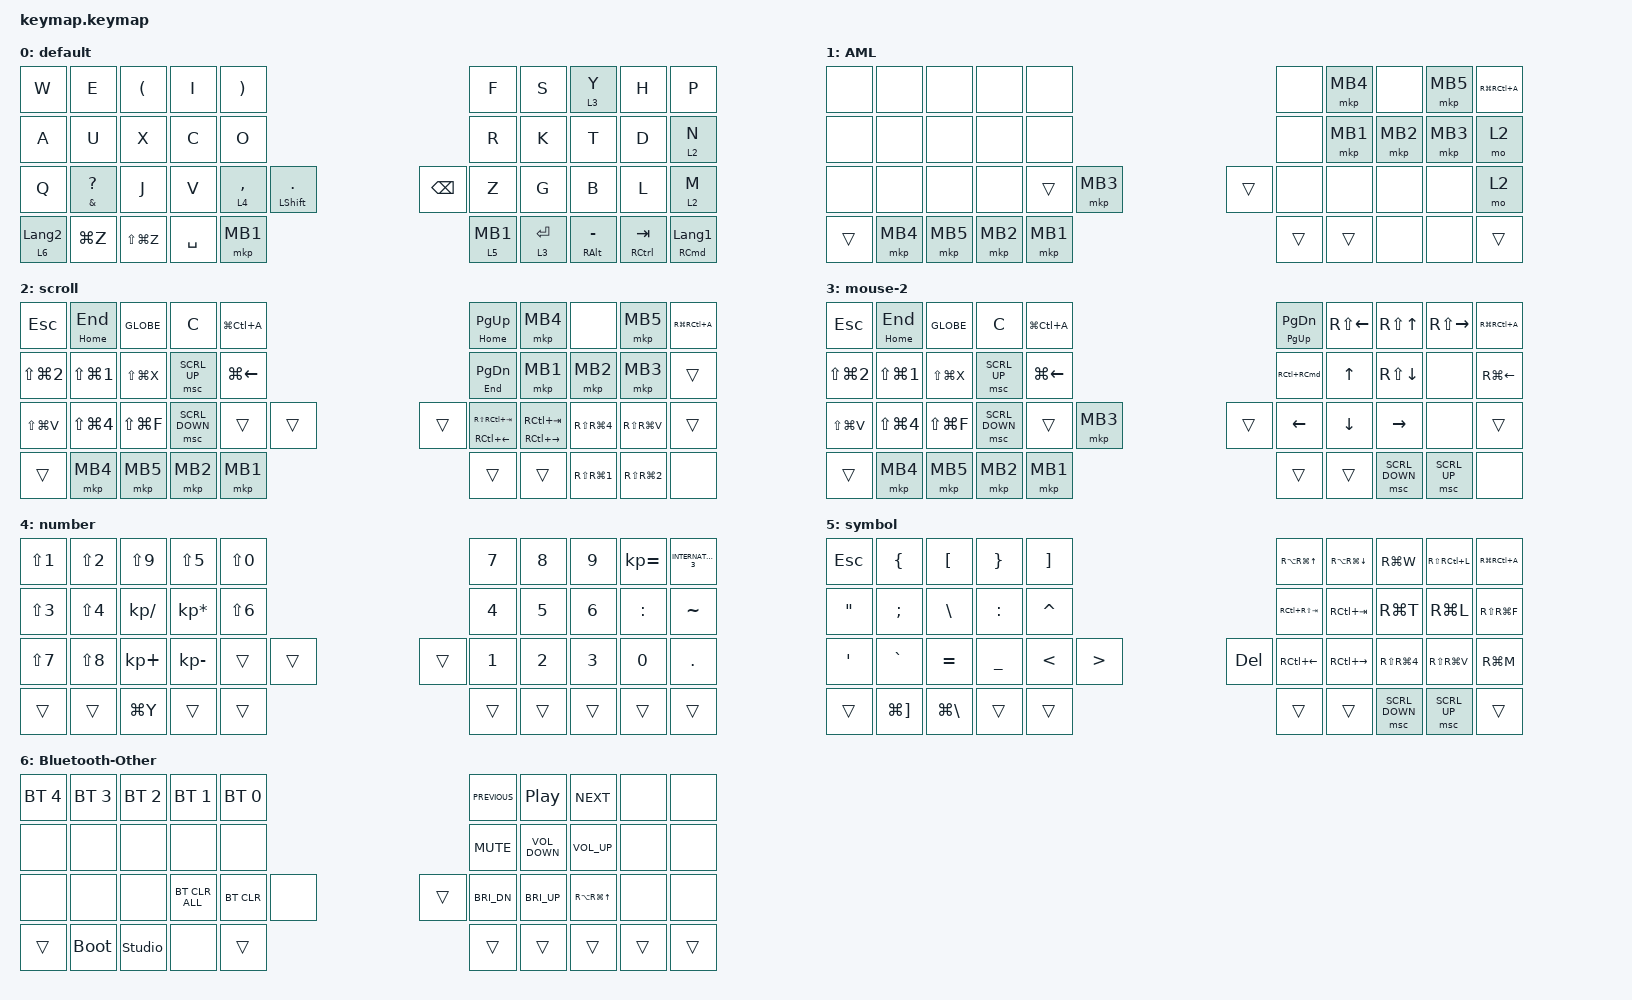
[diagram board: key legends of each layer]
#include <behaviors.dtsi>
#include <dt-bindings/zmk/bt.h>
#include <dt-bindings/zmk/keys.h>
#include <dt-bindings/zmk/pointing.h>

/ {
    behaviors {
        mouse_layer: mouse_layer {
            compatible = "zmk,behavior-hold-tap";
            #binding-cells = <2>;
            tapping-term-ms = <190>;
            bindings = <&mo>, <&mkp>;
        };
    };

    combos {
        compatible = "zmk,combos";

        mouse-Layer {
            bindings = <&tog 3>;
            key-positions = <16 15>;
        };

        Reset-Layer {
            bindings = <&to 0>;
            key-positions = <5 6>;
        };

        mouse-button1 {
            bindings = <&mkp MB1>;
            key-positions = <28 29>;
        };

        mouse-button {
            bindings = <&mkp MB2>;
            key-positions = <16 17>;
        };
    };

    keymap {
        compatible = "zmk,keymap";

        default {
            bindings = <
&kp W             &kp E                   &kp LEFT_PARENTHESIS  &kp I  &kp RIGHT_PARENTHESIS                                                                      &kp F  &kp S  &lt 3 Y              &kp H                  &kp P
&kp A             &kp U                   &kp X                 &kp C  &kp O                                                                                      &kp R  &kp K  &kp T                &kp D                  &lt 2 N
&kp Q             &mt AMPERSAND QUESTION  &kp J                 &kp V  &lt 4 COMMA            &mt LEFT_SHIFT PERIOD                                &kp BACKSPACE  &kp Z  &kp G  &kp B                &kp L                  &lt 2 M
&lt 6 LANGUAGE_2  &kp LG(Z)               &kp LS(LG(Z))                                       &kp SPACE              &mkp MB1  &mouse_layer 5 MB1  &lt 3 ENTER                  &mt RIGHT_ALT MINUS  &mt RIGHT_CONTROL TAB  &mt RIGHT_COMMAND LANGUAGE_1
            >;
        };

        AML {
            bindings = <
&none   &none     &none     &none  &none                                       &none  &mkp MB4  &none     &mkp MB5  &kp RG(RC(A))
&none   &none     &none     &none  &none                                       &none  &mkp MB1  &mkp MB2  &mkp MB3  &mo 2
&none   &none     &none     &none  &trans  &mkp MB3                    &trans  &none  &none     &none     &none     &mo 2
&trans  &mkp MB4  &mkp MB5                 &mkp MB2  &mkp MB1  &trans  &trans                   &none     &none     &trans
            >;
        };

        scroll {
            bindings = <
&kp ESCAPE            &mt HOME END          &kp GLOBE      &kp C           &kp LG(LC(A))                                      &mt HOME PAGE_UP          &mkp MB4               &none                 &mkp MB5              &kp RG(RC(A))
&kp LS(LG(NUMBER_2))  &kp LS(LG(NUMBER_1))  &kp LS(LG(X))  &msc SCRL_UP    &kp LG(LEFT)                                       &mt END PAGE_DOWN         &mkp MB1               &mkp MB2              &mkp MB3              &trans
&kp LS(LG(V))         &kp LS(LG(NUMBER_4))  &kp LS(LG(F))  &msc SCRL_DOWN  &trans         &trans                      &trans  &mt RC(LEFT) RS(RC(TAB))  &mt RC(RIGHT) RC(TAB)  &kp RS(RG(NUMBER_4))  &kp RS(RG(V))         &trans
&trans                &mkp MB4              &mkp MB5                                      &mkp MB2  &mkp MB1  &trans  &trans                                                   &kp RS(RG(NUMBER_1))  &kp RS(RG(NUMBER_2))  &none
            >;
        };

        mouse-2 {
            bindings = <
&kp ESC         &mt HOME END    &kp GLOBE      &kp C           &kp LG(LC(A))                                      &mt PAGE_UP PAGE_DOWN  &kp RS(LEFT)  &kp RS(UP)      &kp RS(RIGHT)  &kp RG(RC(A))
&kp LS(LG(N2))  &kp LS(LG(N1))  &kp LS(LG(X))  &msc SCRL_UP    &kp LG(LEFT)                                       &kp RC(RIGHT_COMMAND)  &kp UP        &kp RS(DOWN)    &none          &kp RG(LEFT)
&kp LS(LG(V))   &kp LS(LG(N4))  &kp LS(LG(F))  &msc SCRL_DOWN  &trans         &mkp MB3                    &trans  &kp LEFT               &kp DOWN      &kp RIGHT       &none          &trans
&trans          &mkp MB4        &mkp MB5                                      &mkp MB2  &mkp MB1  &trans  &trans                                       &msc SCRL_DOWN  &msc SCRL_UP   &none
            >;
        };

        number {
            bindings = <
&kp LS(N1)  &kp LS(N2)  &kp LS(N9)    &kp LS(N5)       &kp LS(N0)                                  &kp N7  &kp N8  &kp N9  &kp KP_EQUAL  &kp INTERNATIONAL_3
&kp LS(N3)  &kp LS(N4)  &kp KP_SLASH  &kp KP_MULTIPLY  &kp LS(N6)                                  &kp N4  &kp N5  &kp N6  &kp COLON     &kp TILDE
&kp LS(N7)  &kp LS(N8)  &kp KP_PLUS   &kp KP_MINUS     &trans      &trans                  &trans  &kp N1  &kp N2  &kp N3  &kp N0        &kp PERIOD
&trans      &trans      &kp LG(Y)                                  &trans  &trans  &trans  &trans                  &trans  &trans        &trans
            >;
        };

        symbol {
            bindings = <
&kp ESCAPE         &kp LEFT_BRACE  &kp LBKT      &kp RIGHT_BRACE  &kp RBKT                                                  &kp RA(RG(UP_ARROW))  &kp RA(RG(DOWN_ARROW))  &kp RG(W)             &kp RS(RC(L))  &kp RG(RC(A))
&kp DOUBLE_QUOTES  &kp SEMICOLON   &kp BSLH      &kp COLON        &kp CARET                                                 &kp RC(RS(TAB))       &kp RC(TAB)             &kp RG(T)             &kp RG(L)      &kp RS(RG(F))
&kp APOS           &kp GRAVE       &kp EQUAL     &kp UNDERSCORE   &kp LESS_THAN  &kp GREATER_THAN                  &kp DEL  &kp RC(LEFT)          &kp RC(RIGHT)           &kp RS(RG(NUMBER_4))  &kp RS(RG(V))  &kp RG(M)
&trans             &kp LG(RBKT)    &kp LG(BSLH)                                  &trans            &trans  &trans  &trans                                                 &msc SCRL_DOWN        &msc SCRL_UP   &trans
            >;
        };

        Bluetooth-Other {
            bindings = <
&bt BT_SEL 4  &bt BT_SEL 3  &bt BT_SEL 2    &bt BT_SEL 1    &bt BT_SEL 0                                 &kp C_PREVIOUS  &kp C_PLAY_PAUSE   &kp C_NEXT       &none   &none
&none         &none         &none           &none           &none                                        &kp K_MUTE      &kp C_VOLUME_DOWN  &kp C_VOLUME_UP  &none   &none
&none         &none         &none           &bt BT_CLR_ALL  &bt BT_CLR    &none                  &trans  &kp C_BRI_DN    &kp C_BRI_UP       &kp RA(RG(UP))   &none   &none
&trans        &bootloader   &studio_unlock                                &none  &trans  &trans  &trans                                     &trans           &trans  &trans
            >;
        };
    };
};
